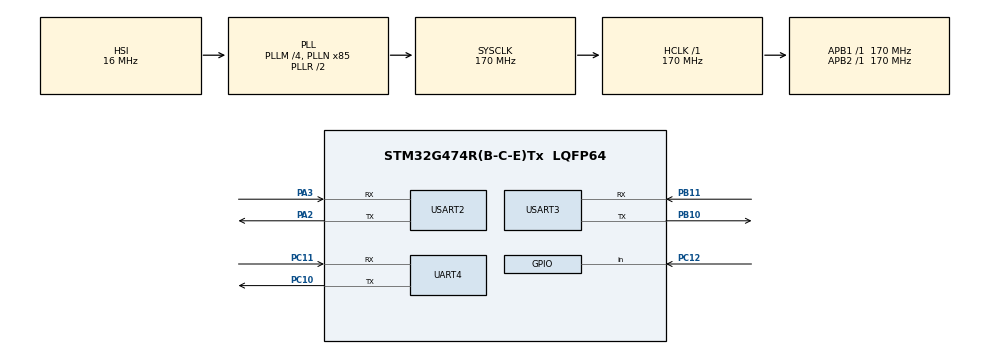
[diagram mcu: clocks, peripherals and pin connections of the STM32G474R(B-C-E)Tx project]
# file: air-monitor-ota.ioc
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Mcu.Family=STM32G4
Mcu.Name=STM32G474R(B-C-E)Tx
Mcu.Package=LQFP64
NVIC.PriorityGroup=NVIC_PRIORITYGROUP_4
PA2.Mode=Asynchronous
PA2.Signal=USART2_TX
PA2.TagName=VCP_TX
PA3.Mode=Asynchronous
PA3.Signal=USART2_RX
PA3.TagName=VCP_RX
PA5.TagName=LD2
PB10.Mode=Asynchronous
PB10.Signal=USART3_TX
PB11.Mode=Asynchronous
PB11.Signal=USART3_RX
PC10.Mode=Asynchronous
PC10.Signal=UART4_TX
PC11.Mode=Asynchronous
PC11.Signal=UART4_RX
PC12.Signal=GPIO_Input
PC13.TagName=B1
ProjectManager.HeapSize=0x200
ProjectManager.StackSize=0x400
ProjectManager.TargetToolchain=CMake
RCC.ADC12Freq_Value=170000000
RCC.ADC345Freq_Value=170000000
RCC.AHBFreq_Value=170000000
RCC.APB1Freq_Value=170000000
RCC.APB1TimFreq_Value=170000000
RCC.APB2Freq_Value=170000000
RCC.APB2TimFreq_Value=170000000
RCC.CortexFreq_Value=170000000
RCC.EXTERNAL_CLOCK_VALUE=12288000
RCC.HCLKFreq_Value=170000000
RCC.HSE_VALUE=24000000
RCC.HSI48_VALUE=48000000
RCC.HSI_VALUE=16000000
RCC.LSE_VALUE=32768
RCC.PLLM=RCC_PLLM_DIV4
RCC.PLLN=85
RCC.RTCClockSelection=RCC_RTCCLKSOURCE_LSE
RCC.SYSCLKFreq_VALUE=170000000
RCC.SYSCLKSource=RCC_SYSCLKSOURCE_PLLCLK
RCC.USBFreq_Value=170000000
RCC.VCOOutputFreq_Value=340000000
USART2.VirtualMode-Asynchronous=VM_ASYNC
USART3.VirtualMode-Asynchronous=VM_ASYNC
VP_SYS_VS_DBSignals.Mode=DisableDeadBatterySignals
board=NUCLEO-G474RE

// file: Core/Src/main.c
/* USER CODE BEGIN Header */
/**
  ******************************************************************************
  * @file           : main.c
  * @brief          : Main program body
  ******************************************************************************
  * @attention
  *
  * Copyright (c) 2026 STMicroelectronics.
  * All rights reserved.
  *
  * This software is licensed under terms that can be found in the LICENSE file
  * in the root directory of this software component.
  * If no LICENSE file comes with this software, it is provided AS-IS.
  *
  ******************************************************************************
  */
/* USER CODE END Header */
#include "main.h"

/* USER CODE BEGIN Includes */
#include <stdio.h>
#include <string.h>
#include "esp32-at.h"
#include "configuration.h"
#include "dht11.h"
#include "ota.h"
#include "mcuboot_app.h"
/* USER CODE END Includes */

UART_HandleTypeDef huart4;
UART_HandleTypeDef huart2;
UART_HandleTypeDef huart3;

void SystemClock_Config(void);
static void MX_GPIO_Init(void);
static void MX_UART4_Init(void);
static void MX_USART2_UART_Init(void);
static void MX_USART3_UART_Init(void);

int main(void)
{

  /* MCU Configuration--------------------------------------------------------*/

  /* Reset of all peripherals, Initializes the Flash interface and the Systick. */
  HAL_Init();

  /* Configure the system clock */
  SystemClock_Config();

  /* Initialize all configured peripherals */
  MX_GPIO_Init();
  MX_UART4_Init();
  MX_USART2_UART_Init();
  MX_USART3_UART_Init();
  /* USER CODE BEGIN 2 */
  dht11_init();
  printf("\r\n=== air-monitor-ota debug console (USART3) ===\r\n");

  {
    struct image_version running_ver;
    char ver_buf[24];

    if (mcuboot_app_get_running_version(&running_ver) == 0 &&
        mcuboot_app_format_version(&running_ver, ver_buf, sizeof(ver_buf)) > 0)
    {
      printf("Firmware v%s\r\n", ver_buf);
    }
    else
    {
      printf("Firmware v%s\r\n", FW_VERSION_STR);
    }
  }

  if (esp32_init() != ESP32_OK)
  {
    printf("esp32_init failed after %u retries\r\n", ESP32_INIT_MAX_RETRIES);
    Error_Handler();
  }

  printf("esp32_init OK\r\n");

  if (ESP32_Connect_AP(WIFI_SSID, WIFI_PWD) != WIFI_OK)
  {
    printf("WiFi connect failed\r\n");
    Error_Handler();
  }

  if (ESP32_Config_SNTP() != WIFI_OK)
  {
    printf("SNTP config failed\r\n");
    Error_Handler();
  }

  sntp_time_t time_data;
  if (ESP32_Get_SNTP_Time(&time_data) != WIFI_OK)
  {
    printf("SNTP time failed\r\n");
    Error_Handler();
  }

  if (ESP32_Connect_AWS() != WIFI_OK)
  {
    printf("AWS connect failed\r\n");
    Error_Handler();
  }

  if (ESP32_MQTT_Subscribe(MQTT_TOPIC, MQTT_QOS) != WIFI_OK)
  {
    printf("MQTT subscribe failed\r\n");
    Error_Handler();
  }

  if (ota_init() != 0)
  {
    printf("OTA init failed\r\n");
    Error_Handler();
  }

  printf("Subscribed to %s\r\n", MQTT_TOPIC);
  printf("All init steps passed\r\n");
  /* USER CODE END 2 */

  /* Infinite loop */
  while (1)
  {

    /* USER CODE BEGIN 3 */
    uint8_t humidity = 0U;
    float temperature = 0.0f;
    char json_payload[64];
    int temp_centi;
    size_t payload_len;
    dht11_data_t dht;

    ESP32_MQTT_Poll();
    ota_process();

    if (ota_is_active())
    {
      HAL_Delay(10);
      continue;
    }

    if (dht11_read(&dht) == DHT11_OK)
    {
      humidity = dht.humidity_pct;
      temperature = (float)dht.temperature_c;
      printf("DHT11: %d C, %u %%RH\r\n", dht.temperature_c, dht.humidity_pct);
    }
    else
    {
      printf("DHT11 read failed, skipping publish\r\n");
      fflush(stdout);

      for (uint32_t waited = 0U; waited < MQTT_PUBLISH_INTERVAL_MS; waited += 100U)
      {
        ESP32_MQTT_Poll();
        HAL_Delay(100);
      }
      continue;
    }

    temp_centi = (int)(temperature * 100.0f + 0.5f);
    payload_len = (size_t)snprintf(json_payload, sizeof(json_payload),
                                   "{\"temp\": %d.%02d, \"humidity\": %u}",
                                   temp_centi / 100, temp_centi % 100, humidity);

    printf("Publishing sensor data...\r\n");
    fflush(stdout);

    if (ESP32_MQTT_Publish(MQTT_TOPIC, (const uint8_t *)json_payload,
                           (uint16_t)payload_len, MQTT_QOS, MQTT_RETAIN) == WIFI_OK)
    {
      ESP32_MQTT_Poll();
      printf("MQTT published to %s: %s\r\n", MQTT_TOPIC, json_payload);
    }
    else
    {
      printf("MQTT publish failed on %s\r\n", MQTT_TOPIC);
    }
    fflush(stdout);

    for (uint32_t waited = 0U; waited < MQTT_PUBLISH_INTERVAL_MS; waited += 100U)
    {
      ESP32_MQTT_Poll();
      HAL_Delay(100);
    }
    /* USER CODE END 3 */
  }
}

void SystemClock_Config(void)
{
  RCC_OscInitTypeDef RCC_OscInitStruct = {0};
  RCC_ClkInitTypeDef RCC_ClkInitStruct = {0};

  /** Configure the main internal regulator output voltage
  */
  HAL_PWREx_ControlVoltageScaling(PWR_REGULATOR_VOLTAGE_SCALE1_BOOST);

  /** Initializes the RCC Oscillators according to the specified parameters
  * in the RCC_OscInitTypeDef structure.
  */
  RCC_OscInitStruct.OscillatorType = RCC_OSCILLATORTYPE_HSI;
  RCC_OscInitStruct.HSIState = RCC_HSI_ON;
  RCC_OscInitStruct.HSICalibrationValue = RCC_HSICALIBRATION_DEFAULT;
  RCC_OscInitStruct.PLL.PLLState = RCC_PLL_ON;
  RCC_OscInitStruct.PLL.PLLSource = RCC_PLLSOURCE_HSI;
  RCC_OscInitStruct.PLL.PLLM = RCC_PLLM_DIV4;
  RCC_OscInitStruct.PLL.PLLN = 85;
  RCC_OscInitStruct.PLL.PLLP = RCC_PLLP_DIV2;
  RCC_OscInitStruct.PLL.PLLQ = RCC_PLLQ_DIV2;
  RCC_OscInitStruct.PLL.PLLR = RCC_PLLR_DIV2;
  if (HAL_RCC_OscConfig(&RCC_OscInitStruct) != HAL_OK)
  {
    Error_Handler();
  }

  /** Initializes the CPU, AHB and APB buses clocks
  */
  RCC_ClkInitStruct.ClockType = RCC_CLOCKTYPE_HCLK|RCC_CLOCKTYPE_SYSCLK
                              |RCC_CLOCKTYPE_PCLK1|RCC_CLOCKTYPE_PCLK2;
  RCC_ClkInitStruct.SYSCLKSource = RCC_SYSCLKSOURCE_PLLCLK;
  RCC_ClkInitStruct.AHBCLKDivider = RCC_SYSCLK_DIV1;
  RCC_ClkInitStruct.APB1CLKDivider = RCC_HCLK_DIV1;
  RCC_ClkInitStruct.APB2CLKDivider = RCC_HCLK_DIV1;

  if (HAL_RCC_ClockConfig(&RCC_ClkInitStruct, FLASH_LATENCY_4) != HAL_OK)
  {
    Error_Handler();
  }
}

static void MX_UART4_Init(void)
{

  huart4.Instance = UART4;
  huart4.Init.BaudRate = 115200;
  huart4.Init.WordLength = UART_WORDLENGTH_8B;
  huart4.Init.StopBits = UART_STOPBITS_1;
  huart4.Init.Parity = UART_PARITY_NONE;
  huart4.Init.Mode = UART_MODE_TX_RX;
  huart4.Init.HwFlowCtl = UART_HWCONTROL_NONE;
  huart4.Init.OverSampling = UART_OVERSAMPLING_16;
  huart4.Init.OneBitSampling = UART_ONE_BIT_SAMPLE_DISABLE;
  huart4.Init.ClockPrescaler = UART_PRESCALER_DIV1;
  huart4.AdvancedInit.AdvFeatureInit = UART_ADVFEATURE_NO_INIT;
  if (HAL_UART_Init(&huart4) != HAL_OK)
  {
    Error_Handler();
  }
  if (HAL_UARTEx_SetTxFifoThreshold(&huart4, UART_TXFIFO_THRESHOLD_1_8) != HAL_OK)
  {
    Error_Handler();
  }
  if (HAL_UARTEx_SetRxFifoThreshold(&huart4, UART_RXFIFO_THRESHOLD_1_8) != HAL_OK)
  {
    Error_Handler();
  }
  if (HAL_UARTEx_DisableFifoMode(&huart4) != HAL_OK)
  {
    Error_Handler();
  }

}

static void MX_USART2_UART_Init(void)
{

  huart2.Instance = USART2;
  huart2.Init.BaudRate = 115200;
  huart2.Init.WordLength = UART_WORDLENGTH_8B;
  huart2.Init.StopBits = UART_STOPBITS_1;
  huart2.Init.Parity = UART_PARITY_NONE;
  huart2.Init.Mode = UART_MODE_TX_RX;
  huart2.Init.HwFlowCtl = UART_HWCONTROL_NONE;
  huart2.Init.OverSampling = UART_OVERSAMPLING_16;
  huart2.Init.OneBitSampling = UART_ONE_BIT_SAMPLE_DISABLE;
  huart2.Init.ClockPrescaler = UART_PRESCALER_DIV1;
  huart2.AdvancedInit.AdvFeatureInit = UART_ADVFEATURE_NO_INIT;
  if (HAL_UART_Init(&huart2) != HAL_OK)
  {
    Error_Handler();
  }
  if (HAL_UARTEx_SetTxFifoThreshold(&huart2, UART_TXFIFO_THRESHOLD_1_8) != HAL_OK)
  {
    Error_Handler();
  }
  if (HAL_UARTEx_SetRxFifoThreshold(&huart2, UART_RXFIFO_THRESHOLD_1_8) != HAL_OK)
  {
    Error_Handler();
  }
  if (HAL_UARTEx_DisableFifoMode(&huart2) != HAL_OK)
  {
    Error_Handler();
  }

}

static void MX_USART3_UART_Init(void)
{

  huart3.Instance = USART3;
  huart3.Init.BaudRate = 115200;
  huart3.Init.WordLength = UART_WORDLENGTH_8B;
  huart3.Init.StopBits = UART_STOPBITS_1;
  huart3.Init.Parity = UART_PARITY_NONE;
  huart3.Init.Mode = UART_MODE_TX_RX;
  huart3.Init.HwFlowCtl = UART_HWCONTROL_NONE;
  huart3.Init.OverSampling = UART_OVERSAMPLING_16;
  huart3.Init.OneBitSampling = UART_ONE_BIT_SAMPLE_DISABLE;
  huart3.Init.ClockPrescaler = UART_PRESCALER_DIV1;
  huart3.AdvancedInit.AdvFeatureInit = UART_ADVFEATURE_NO_INIT;
  if (HAL_UART_Init(&huart3) != HAL_OK)
  {
    Error_Handler();
  }
  if (HAL_UARTEx_SetTxFifoThreshold(&huart3, UART_TXFIFO_THRESHOLD_1_8) != HAL_OK)
  {
    Error_Handler();
  }
  if (HAL_UARTEx_SetRxFifoThreshold(&huart3, UART_RXFIFO_THRESHOLD_1_8) != HAL_OK)
  {
    Error_Handler();
  }
  if (HAL_UARTEx_DisableFifoMode(&huart3) != HAL_OK)
  {
    Error_Handler();
  }

}

static void MX_GPIO_Init(void)
{

  /* GPIO Ports Clock Enable */
  __HAL_RCC_GPIOA_CLK_ENABLE();
  __HAL_RCC_GPIOB_CLK_ENABLE();
  __HAL_RCC_GPIOC_CLK_ENABLE();

}

/* USER CODE BEGIN 4 */

int __io_putchar(int ch)
{
  uint8_t c = (uint8_t)ch;

  HAL_UART_Transmit(&huart3, &c, 1U, HAL_MAX_DELAY);
  return ch;
}

/* USER CODE END 4 */

void Error_Handler(void)
{
  __disable_irq();
  while (1)
  {
  }
}
#ifdef USE_FULL_ASSERT
/**
  * @brief  Reports the name of the source file and the source line number
  *         where the assert_param error has occurred.
  * @param  file: pointer to the source file name
  * @param  line: assert_param error line source number
  * @retval None
  */
void assert_failed(uint8_t *file, uint32_t line)
{
  /* USER CODE BEGIN 6 */
  printf("ASSERT failed: file %s, line %lu\r\n", file, line);
  /* USER CODE END 6 */
}
#endif /* USE_FULL_ASSERT */
